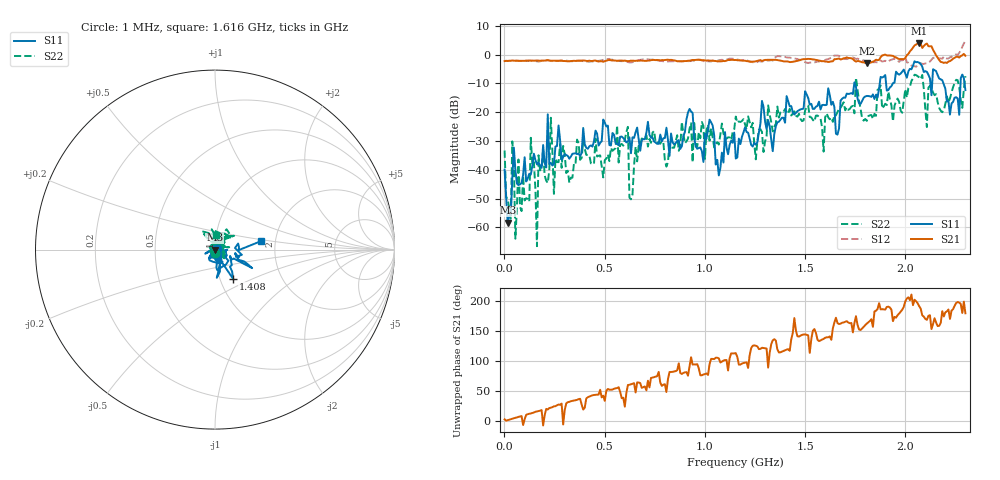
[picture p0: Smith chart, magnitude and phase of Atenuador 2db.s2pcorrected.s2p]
# Hz S DB R 50.000000
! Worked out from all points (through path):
!   300 points, 1 MHz to 2.3 GHz, reference 50 ohm
!   highest |S21| = 3.98 dB at 2.069 GHz (marker M1); lowest = -2.9 dB at 1.808 GHz (marker M2)
!   lowest |S11| = -58.4 dB at 16.38 MHz (marker M3), VSWR 1.00, Z = 49.9 + j0.0159 ohm
!   |S11| at or under -10 dB: start of sweep to 1.746 GHz; 1.748 GHz to 1.873 GHz (124.5 MHz wide, 6.88 % of centre); 2.191 GHz to 2.276 GHz (85.08 MHz wide, 3.81 % of centre)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
!   |S22| runs from -66.5 to -7.0 dB; largest |S21 - S12| = 1.5
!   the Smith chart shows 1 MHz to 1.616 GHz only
!   S11 on the Smith chart (normalised r, x): 1 MHz: 1.02, +0.01; 1.408 GHz: 1.15, -0.39; 1.616 GHz: 1.68, +0.17
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1000000  -39.95 24.7  -2.22 2.9  -2.20 1.1  -33.32 -89.7
1.637793e7  -58.37 172.4  -2.19 1.6  -2.17 1.6  -50.33 135.5
4.713378e7  -32.28 111.8  -2.08 4.9  -2.16 4.7  -38.20 -139.6
5.482274e7  -40.16 121.9  -2.12 5.5  -2.12 5.3  -63.94 -119.1
7.020067e7  -45.31 131.4  -2.13 7.1  -2.17 6.5  -36.43 88.9
1.317124e8  -41.66 150.9  -2.06 12.8  -2.13 12.3  -28.88 94.3
1.624682e8  -38.11 159.1  -2.03 16.2  -2.32 13.7  -66.54 80.6
1.701572e8  -37.42 150.0  -2.06 16.7  -2.43 16.7  -34.95 34.0
2.16291e8  -20.73 47.5  -1.85 19.3  -2.01 20.3  -44.60 86.7
2.316689e8  -37.55 176.4  -2.11 22.4  -2.20 21.0  -21.91 9.6
2.470468e8  -38.00 -160.8  -2.10 24.6  -2.05 24.3  -48.36 169.0
3.854482e8  -34.10 -154.6  -2.06 27.7  -2.17 36.5  -35.87 86.0
7.698963e8  -30.96 -45.2  -1.89 82.0  -2.08 54.8  -30.32 71.2
1.154344e9  -36.07 -59.9  -1.84 113.5  -1.60 112.0  -21.49 108.9
1.40808e9  -14.38 -58.2  -2.33 119.3  -0.94 127.7  -19.88 59.8
1.538793e9  -18.84 -11.9  -1.65 150.7  -2.73 138.9  -22.64 84.5
1.615682e9  -11.69 10.4  -2.52 139.9  -1.53 151.4  -21.80 87.2
1.807906e9  -14.34 47.0  -2.89 162.7  -2.81 165.0  -22.99 99.5
1.923241e9  -11.37 95.1  -0.27 -170.4  -1.93 -179.4  -15.42 97.9
2.069331e9  -2.79 102.0  3.98 -168.1  -3.18 -157.1  -7.87 57.9
2.276933e9  -8.16 143.6  -0.47 -164.4  1.33 -73.1  -15.65 165.2
2.3e9  -12.30 65.4  -0.38 179.9  4.94 -135.6  -7.46 -53.5
